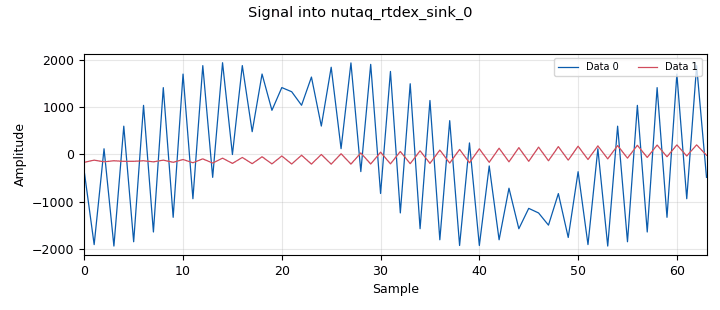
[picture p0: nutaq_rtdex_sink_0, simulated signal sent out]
<?xml version='1.0' encoding='utf-8'?>
<?grc format='1' created='3.7.7'?>
<flow_graph>
<block>
<key>options</key>
<param><key>id</key><value>perseus_mimo</value></param>
<param><key>title</key><value>Perseus MIMO</value></param>
<param><key>generate_options</key><value>qt_gui</value></param>
<param><key>category</key><value>Custom</value></param>
</block>
<block>
<key>variable</key>
<param><key>id</key><value>samp_rate</value></param>
<param><key>value</key><value>8e6/2</value></param>
</block>
<block>
<key>variable</key>
<param><key>id</key><value>decim</value></param>
<param><key>value</key><value>4</value></param>
</block>
<block>
<key>blocks_short_to_float</key>
<param><key>id</key><value>blocks_short_to_float_0_0</value></param>
<param><key>scale</key><value>2**11-1</value></param>
</block>
<block>
<key>blocks_short_to_float</key>
<param><key>id</key><value>blocks_short_to_float_0</value></param>
<param><key>scale</key><value>2**11-1</value></param>
</block>
<block>
<key>blocks_short_to_float</key>
<param><key>id</key><value>blocks_short_to_float_0_1</value></param>
<param><key>scale</key><value>2**11-1</value></param>
</block>
<block>
<key>blocks_short_to_float</key>
<param><key>id</key><value>blocks_short_to_float_0_0_0</value></param>
<param><key>scale</key><value>2**11-1</value></param>
</block>
<block>
<key>blocks_deinterleave</key>
<param><key>id</key><value>blocks_deinterleave_0</value></param>
<param><key>type</key><value>short</value></param>
</block>
<block>
<key>variable_slider</key>
<param><key>id</key><value>freq2</value></param>
<param><key>_enabled</key><value>False</value></param>
<param><key>label</key><value></value></param>
<param><key>value</key><value>1e6</value></param>
<param><key>min</key><value>-samp_rate/2</value></param>
<param><key>max</key><value>samp_rate/2</value></param>
<param><key>num_steps</key><value>100</value></param>
<param><key>style</key><value>wx.SL_HORIZONTAL</value></param>
<param><key>converver</key><value>float_converter</value></param>
</block>
<block>
<key>variable_slider</key>
<param><key>id</key><value>freq1</value></param>
<param><key>_enabled</key><value>False</value></param>
<param><key>label</key><value></value></param>
<param><key>value</key><value>500e3</value></param>
<param><key>min</key><value>-samp_rate/2</value></param>
<param><key>max</key><value>samp_rate/2</value></param>
<param><key>num_steps</key><value>100</value></param>
<param><key>style</key><value>wx.SL_HORIZONTAL</value></param>
<param><key>converver</key><value>float_converter</value></param>
</block>
<block>
<key>wxgui_fftsink2</key>
<param><key>id</key><value>wxgui_fftsink_0</value></param>
<param><key>_enabled</key><value>False</value></param>
<param><key>type</key><value>complex</value></param>
<param><key>title</key><value>FFT Plot</value></param>
<param><key>samp_rate</key><value>samp_rate/4</value></param>
<param><key>baseband_freq</key><value>0</value></param>
<param><key>y_per_div</key><value>10</value></param>
<param><key>y_divs</key><value>10</value></param>
<param><key>ref_level</key><value>0</value></param>
<param><key>ref_scale</key><value>2.0</value></param>
<param><key>fft_size</key><value>1024</value></param>
<param><key>fft_rate</key><value>15</value></param>
<param><key>peak_hold</key><value>False</value></param>
<param><key>average</key><value>False</value></param>
<param><key>avg_alpha</key><value>0</value></param>
<param><key>win</key><value>None</value></param>
<param><key>freqvar</key><value>None</value></param>
</block>
<block>
<key>wxgui_fftsink2</key>
<param><key>id</key><value>wxgui_fftsink_1</value></param>
<param><key>_enabled</key><value>False</value></param>
<param><key>type</key><value>complex</value></param>
<param><key>title</key><value>FFT Plot</value></param>
<param><key>samp_rate</key><value>samp_rate/4</value></param>
<param><key>baseband_freq</key><value>0</value></param>
<param><key>y_per_div</key><value>10</value></param>
<param><key>y_divs</key><value>10</value></param>
<param><key>ref_level</key><value>0</value></param>
<param><key>ref_scale</key><value>2.0</value></param>
<param><key>fft_size</key><value>1024</value></param>
<param><key>fft_rate</key><value>15</value></param>
<param><key>peak_hold</key><value>False</value></param>
<param><key>average</key><value>False</value></param>
<param><key>avg_alpha</key><value>0</value></param>
<param><key>win</key><value>None</value></param>
<param><key>freqvar</key><value>None</value></param>
</block>
<block>
<key>blocks_float_to_complex</key>
<param><key>id</key><value>blocks_float_to_complex_0</value></param>
</block>
<block>
<key>nutaq_custom_register</key>
<param><key>id</key><value>nutaq_custom_register_0_0</value></param>
<param><key>target_id</key><value>nutaq_carrier_perseus_0</value></param>
<param><key>block_priority</key><value>7</value></param>
<param><key>index</key><value>4</value></param>
<param><key>value</key><value>0</value></param>
<param><key>update_rate</key><value>1</value></param>
</block>
<block>
<key>nutaq_custom_register</key>
<param><key>id</key><value>nutaq_custom_register_0_0_0_0_3</value></param>
<param><key>target_id</key><value>nutaq_carrier_perseus_0</value></param>
<param><key>block_priority</key><value>7</value></param>
<param><key>index</key><value>16</value></param>
<param><key>value</key><value>2500000</value></param>
<param><key>update_rate</key><value>10</value></param>
</block>
<block>
<key>nutaq_custom_register</key>
<param><key>id</key><value>nutaq_custom_register_0_0_0_0_2</value></param>
<param><key>target_id</key><value>nutaq_carrier_perseus_0</value></param>
<param><key>block_priority</key><value>7</value></param>
<param><key>index</key><value>18</value></param>
<param><key>value</key><value>1</value></param>
<param><key>update_rate</key><value>10</value></param>
</block>
<block>
<key>nutaq_custom_register</key>
<param><key>id</key><value>nutaq_custom_register_0_0_0_0_1</value></param>
<param><key>target_id</key><value>nutaq_carrier_perseus_0</value></param>
<param><key>block_priority</key><value>7</value></param>
<param><key>index</key><value>19</value></param>
<param><key>value</key><value>1000000</value></param>
<param><key>update_rate</key><value>10</value></param>
</block>
<block>
<key>nutaq_custom_register</key>
<param><key>id</key><value>nutaq_custom_register_0_0_0</value></param>
<param><key>target_id</key><value>nutaq_carrier_perseus_0</value></param>
<param><key>block_priority</key><value>7</value></param>
<param><key>index</key><value>28</value></param>
<param><key>value</key><value>238</value></param>
<param><key>update_rate</key><value>10</value></param>
</block>
<block>
<key>nutaq_custom_register</key>
<param><key>id</key><value>nutaq_custom_register_0_0_0_0_0</value></param>
<param><key>target_id</key><value>nutaq_carrier_perseus_0</value></param>
<param><key>block_priority</key><value>7</value></param>
<param><key>index</key><value>30</value></param>
<param><key>value</key><value>10000</value></param>
<param><key>update_rate</key><value>10</value></param>
</block>
<block>
<key>nutaq_custom_register</key>
<param><key>id</key><value>nutaq_custom_register_0_0_0_0_0_0</value></param>
<param><key>target_id</key><value>nutaq_carrier_perseus_0</value></param>
<param><key>block_priority</key><value>7</value></param>
<param><key>index</key><value>31</value></param>
<param><key>value</key><value>10000</value></param>
<param><key>update_rate</key><value>10</value></param>
</block>
<block>
<key>nutaq_custom_register</key>
<param><key>id</key><value>nutaq_custom_register_0_0_0_0</value></param>
<param><key>target_id</key><value>nutaq_carrier_perseus_0</value></param>
<param><key>block_priority</key><value>7</value></param>
<param><key>index</key><value>3</value></param>
<param><key>value</key><value>7</value></param>
<param><key>update_rate</key><value>10</value></param>
</block>
<block>
<key>nutaq_carrier_perseus</key>
<param><key>id</key><value>nutaq_carrier_perseus_0</value></param>
<param><key>ip_addr</key><value>192.168.0.175</value></param>
</block>
<block>
<key>qtgui_sink_x</key>
<param><key>id</key><value>qtgui_sink_x_0_0_0</value></param>
<param><key>_enabled</key><value>False</value></param>
<param><key>type</key><value>complex</value></param>
<param><key>fftsize</key><value>1024</value></param>
<param><key>wintype</key><value>firdes.WIN_BLACKMAN_hARRIS</value></param>
<param><key>fc</key><value>0</value></param>
<param><key>bw</key><value>samp_rate</value></param>
<param><key>gui_hint</key><value>3,1,3,1</value></param>
<param><key>freqchangevar</key><value>None</value></param>
<param><key>showports</key><value>True</value></param>
</block>
<block>
<key>nutaq_rtdex_source</key>
<param><key>id</key><value>nutaq_rtdex_source_0_0</value></param>
<param><key>_enabled</key><value>False</value></param>
<param><key>target_id</key><value>nutaq_carrier_perseus_0</value></param>
<param><key>block_priority</key><value>7</value></param>
<param><key>type</key><value>short</value></param>
<param><key>media_type</key><value>0</value></param>
<param><key>packet_size</key><value>1024</value></param>
<param><key>num_chan</key><value>1</value></param>
<param><key>channels</key><value>0</value></param>
</block>
<block>
<key>blocks_short_to_float</key>
<param><key>id</key><value>blocks_short_to_float_0_0_0_0</value></param>
<param><key>_enabled</key><value>False</value></param>
<param><key>scale</key><value>2**11-1</value></param>
</block>
<block>
<key>blocks_short_to_float</key>
<param><key>id</key><value>blocks_short_to_float_0_1_0</value></param>
<param><key>_enabled</key><value>False</value></param>
<param><key>scale</key><value>2**11-1</value></param>
</block>
<block>
<key>blocks_deinterleave</key>
<param><key>id</key><value>blocks_deinterleave_0_0_0</value></param>
<param><key>_enabled</key><value>False</value></param>
<param><key>type</key><value>short</value></param>
</block>
<block>
<key>blocks_float_to_complex</key>
<param><key>id</key><value>blocks_float_to_complex_0_0_0</value></param>
<param><key>_enabled</key><value>False</value></param>
</block>
<block>
<key>blocks_float_to_complex</key>
<param><key>id</key><value>blocks_float_to_complex_0_0</value></param>
</block>
<block>
<key>qtgui_time_sink_x</key>
<param><key>id</key><value>qtgui_time_sink_x_0_0</value></param>
<param><key>_enabled</key><value>False</value></param>
<param><key>type</key><value>complex</value></param>
<param><key>size</key><value>1024</value></param>
<param><key>srate</key><value>samp_rate/4</value></param>
<param><key>gui_hint</key><value>2,2,3,2</value></param>
<param><key>label1</key><value></value></param>
<param><key>color1</key><value>"blue"</value></param>
<param><key>label2</key><value></value></param>
<param><key>color2</key><value>"red"</value></param>
</block>
<block>
<key>qtgui_sink_x</key>
<param><key>id</key><value>qtgui_sink_x_0_0</value></param>
<param><key>type</key><value>complex</value></param>
<param><key>fftsize</key><value>1024</value></param>
<param><key>wintype</key><value>firdes.WIN_BLACKMAN_hARRIS</value></param>
<param><key>fc</key><value>0</value></param>
<param><key>bw</key><value>samp_rate/decim</value></param>
<param><key>gui_hint</key><value>1,3,3,1</value></param>
<param><key>freqchangevar</key><value>None</value></param>
<param><key>showports</key><value>True</value></param>
</block>
<block>
<key>blocks_deinterleave</key>
<param><key>id</key><value>blocks_deinterleave_0_0</value></param>
<param><key>type</key><value>short</value></param>
</block>
<block>
<key>qtgui_time_sink_x</key>
<param><key>id</key><value>qtgui_time_sink_x_0</value></param>
<param><key>_enabled</key><value>False</value></param>
<param><key>type</key><value>complex</value></param>
<param><key>size</key><value>1024</value></param>
<param><key>srate</key><value>samp_rate</value></param>
<param><key>gui_hint</key><value>3,3,3,1</value></param>
<param><key>label1</key><value></value></param>
<param><key>color1</key><value>"blue"</value></param>
<param><key>label2</key><value></value></param>
<param><key>color2</key><value>"red"</value></param>
</block>
<block>
<key>variable_qtgui_range</key>
<param><key>id</key><value>freq1</value></param>
<param><key>value</key><value>samp_rate/decim/25</value></param>
<param><key>start</key><value>-samp_rate/2/decim</value></param>
<param><key>stop</key><value>samp_rate/2/decim</value></param>
<param><key>step</key><value>10000</value></param>
<param><key>orient</key><value>Qt.Horizontal</value></param>
<param><key>gui_hint</key><value>3,1,3,1</value></param>
</block>
<block>
<key>nutaq_rtdex_source</key>
<param><key>id</key><value>nutaq_rtdex_source_0_0_0</value></param>
<param><key>target_id</key><value>nutaq_carrier_perseus_0</value></param>
<param><key>block_priority</key><value>4</value></param>
<param><key>type</key><value>short</value></param>
<param><key>media_type</key><value>0</value></param>
<param><key>packet_size</key><value>8192</value></param>
<param><key>num_chan</key><value>2</value></param>
<param><key>channels</key><value>1,2</value></param>
</block>
<block>
<key>qtgui_sink_x</key>
<param><key>id</key><value>qtgui_sink_x_0_00008</value></param>
<param><key>type</key><value>complex</value></param>
<param><key>name</key><value>"dddd"</value></param>
<param><key>fftsize</key><value>1024</value></param>
<param><key>wintype</key><value>firdes.WIN_BLACKMAN_hARRIS</value></param>
<param><key>fc</key><value>0</value></param>
<param><key>bw</key><value>samp_rate</value></param>
<param><key>plotconst</key><value>False</value></param>
<param><key>gui_hint</key><value>1,1,3,1</value></param>
<param><key>freqchangevar</key><value>None</value></param>
<param><key>showports</key><value>True</value></param>
</block>
<block>
<key>nutaq_custom_register</key>
<param><key>id</key><value>nutaq_custom_register_0_1_0</value></param>
<param><key>target_id</key><value>nutaq_carrier_perseus_0</value></param>
<param><key>block_priority</key><value>6</value></param>
<param><key>index</key><value>2</value></param>
<param><key>value</key><value>int((1e4)/samp_rate*(2**32))</value></param>
<param><key>update_rate</key><value>1</value></param>
</block>
<block>
<key>nutaq_custom_register</key>
<param><key>id</key><value>nutaq_custom_register_0_1</value></param>
<param><key>target_id</key><value>nutaq_carrier_perseus_0</value></param>
<param><key>block_priority</key><value>6</value></param>
<param><key>index</key><value>0</value></param>
<param><key>value</key><value>int((1e5)/samp_rate*(2**32))</value></param>
<param><key>update_rate</key><value>1</value></param>
</block>
<block>
<key>nutaq_custom_register</key>
<param><key>id</key><value>nutaq_custom_register_0</value></param>
<param><key>target_id</key><value>nutaq_carrier_perseus_0</value></param>
<param><key>block_priority</key><value>6</value></param>
<param><key>index</key><value>1</value></param>
<param><key>value</key><value>3</value></param>
<param><key>update_rate</key><value>1</value></param>
</block>
<block>
<key>blocks_float_to_short</key>
<param><key>id</key><value>blocks_float_to_short_0_0_1</value></param>
<param><key>scale</key><value>2**11-1</value></param>
</block>
<block>
<key>blocks_float_to_short</key>
<param><key>id</key><value>blocks_float_to_short_0_0_0_0</value></param>
<param><key>scale</key><value>2**11-1</value></param>
</block>
<block>
<key>blocks_complex_to_float</key>
<param><key>id</key><value>blocks_complex_to_float_0_0</value></param>
</block>
<block>
<key>variable_qtgui_range</key>
<param><key>id</key><value>freq2</value></param>
<param><key>value</key><value>samp_rate/20/decim</value></param>
<param><key>start</key><value>-samp_rate/2/decim</value></param>
<param><key>stop</key><value>samp_rate/2/decim</value></param>
<param><key>step</key><value>10000</value></param>
<param><key>orient</key><value>Qt.Horizontal</value></param>
<param><key>gui_hint</key><value>3,3,3,1</value></param>
</block>
<block>
<key>analog_sig_source_x</key>
<param><key>id</key><value>analog_sig_source_x_0_0</value></param>
<param><key>type</key><value>complex</value></param>
<param><key>samp_rate</key><value>samp_rate</value></param>
<param><key>waveform</key><value>analog.GR_COS_WAVE</value></param>
<param><key>freq</key><value>freq2</value></param>
<param><key>amp</key><value>0.1</value></param>
<param><key>offset</key><value>0</value></param>
</block>
<block>
<key>nutaq_radio420_rx</key>
<param><key>id</key><value>nutaq_radio420_rx_0_0</value></param>
<param><key>target_id</key><value>nutaq_carrier_perseus_0</value></param>
<param><key>block_priority</key><value>3</value></param>
<param><key>selected_card</key><value>2</value></param>
<param><key>enable</key><value>1</value></param>
<param><key>reference</key><value>0</value></param>
<param><key>rx_freq</key><value>1200e6</value></param>
<param><key>datarate</key><value>samp_rate*2</value></param>
<param><key>calibrate</key><value>0</value></param>
<param><key>band</key><value>0</value></param>
<param><key>update_rate</key><value>1</value></param>
<param><key>rx_lna_gain</key><value>3</value></param>
<param><key>rx_vga1_gain</key><value>1</value></param>
<param><key>rx_gain2</key><value>0</value></param>
<param><key>rx_gain3</key><value>+18</value></param>
<param><key>rx_lpf_bandwidth</key><value>6</value></param>
<param><key>rx_rf_filter</key><value>2</value></param>
<param><key>ref_clk_ctrl</key><value>0</value></param>
<param><key>rf_ctrl</key><value>0</value></param>
<param><key>rx_gain_ctrl</key><value>0</value></param>
<param><key>pll_cpld_ctrl</key><value>0</value></param>
</block>
<block>
<key>nutaq_radio420_tx</key>
<param><key>id</key><value>nutaq_radio420_tx_0</value></param>
<param><key>target_id</key><value>nutaq_carrier_perseus_0</value></param>
<param><key>block_priority</key><value>0</value></param>
<param><key>selected_card</key><value>1</value></param>
<param><key>enable</key><value>1</value></param>
<param><key>reference</key><value>1</value></param>
<param><key>tx_freq</key><value>978e6</value></param>
<param><key>datarate</key><value>samp_rate*2</value></param>
<param><key>calibrate</key><value>0</value></param>
<param><key>band</key><value>0</value></param>
<param><key>update_rate</key><value>1</value></param>
<param><key>tx_vga1_gain</key><value>-17</value></param>
<param><key>tx_vga2_gain</key><value>5</value></param>
<param><key>tx_gain3</key><value>-4</value></param>
<param><key>tx_lpf_bandwidth</key><value>6</value></param>
<param><key>ref_clk_ctrl</key><value>0</value></param>
<param><key>rf_ctrl</key><value>0</value></param>
<param><key>tx_gain_ctrl</key><value>0</value></param>
<param><key>pll_cpld_ctrl</key><value>0</value></param>
</block>
<block>
<key>nutaq_radio420_tx</key>
<param><key>id</key><value>nutaq_radio420_tx_0_0</value></param>
<param><key>target_id</key><value>nutaq_carrier_perseus_0</value></param>
<param><key>block_priority</key><value>2</value></param>
<param><key>selected_card</key><value>2</value></param>
<param><key>enable</key><value>1</value></param>
<param><key>reference</key><value>0</value></param>
<param><key>tx_freq</key><value>1200e6</value></param>
<param><key>datarate</key><value>samp_rate*2</value></param>
<param><key>calibrate</key><value>0</value></param>
<param><key>band</key><value>0</value></param>
<param><key>update_rate</key><value>1</value></param>
<param><key>tx_vga1_gain</key><value>-17</value></param>
<param><key>tx_vga2_gain</key><value>5</value></param>
<param><key>tx_gain3</key><value>-4</value></param>
<param><key>tx_lpf_bandwidth</key><value>6</value></param>
<param><key>ref_clk_ctrl</key><value>0</value></param>
<param><key>rf_ctrl</key><value>0</value></param>
<param><key>tx_gain_ctrl</key><value>0</value></param>
<param><key>pll_cpld_ctrl</key><value>0</value></param>
</block>
<block>
<key>nutaq_radio420_rx</key>
<param><key>id</key><value>nutaq_radio420_rx_0</value></param>
<param><key>target_id</key><value>nutaq_carrier_perseus_0</value></param>
<param><key>block_priority</key><value>1</value></param>
<param><key>selected_card</key><value>1</value></param>
<param><key>enable</key><value>1</value></param>
<param><key>reference</key><value>1</value></param>
<param><key>rx_freq</key><value>978e6</value></param>
<param><key>datarate</key><value>samp_rate*2</value></param>
<param><key>calibrate</key><value>0</value></param>
<param><key>band</key><value>0</value></param>
<param><key>update_rate</key><value>1</value></param>
<param><key>rx_lna_gain</key><value>3</value></param>
<param><key>rx_vga1_gain</key><value>1</value></param>
<param><key>rx_gain2</key><value>0</value></param>
<param><key>rx_gain3</key><value>18</value></param>
<param><key>rx_lpf_bandwidth</key><value>6</value></param>
<param><key>rx_rf_filter</key><value>2</value></param>
<param><key>ref_clk_ctrl</key><value>0</value></param>
<param><key>rf_ctrl</key><value>0</value></param>
<param><key>rx_gain_ctrl</key><value>0</value></param>
<param><key>pll_cpld_ctrl</key><value>0</value></param>
</block>
<block>
<key>analog_sig_source_x</key>
<param><key>id</key><value>analog_sig_source_x_0</value></param>
<param><key>type</key><value>complex</value></param>
<param><key>samp_rate</key><value>samp_rate/4</value></param>
<param><key>waveform</key><value>analog.GR_COS_WAVE</value></param>
<param><key>freq</key><value>freq1</value></param>
<param><key>amp</key><value>0.95</value></param>
<param><key>offset</key><value>0</value></param>
</block>
<block>
<key>blocks_float_to_short</key>
<param><key>id</key><value>blocks_float_to_short_0_0</value></param>
<param><key>scale</key><value>2**11-1</value></param>
</block>
<block>
<key>blocks_complex_to_float</key>
<param><key>id</key><value>blocks_complex_to_float_0</value></param>
</block>
<block>
<key>blocks_float_to_short</key>
<param><key>id</key><value>blocks_float_to_short_0_0_0</value></param>
<param><key>scale</key><value>2**11-1</value></param>
</block>
<block>
<key>blocks_interleave</key>
<param><key>id</key><value>blocks_interleave_0</value></param>
<param><key>type</key><value>short</value></param>
</block>
<block>
<key>nutaq_rtdex_sink</key>
<param><key>id</key><value>nutaq_rtdex_sink_0_0</value></param>
<param><key>_enabled</key><value>False</value></param>
<param><key>target_id</key><value>nutaq_carrier_perseus_0</value></param>
<param><key>block_priority</key><value>4</value></param>
<param><key>type</key><value>short</value></param>
<param><key>media_type</key><value>0</value></param>
<param><key>packet_size</key><value>8192</value></param>
<param><key>num_chan</key><value>1</value></param>
<param><key>channels</key><value>2</value></param>
</block>
<block>
<key>blocks_interleave</key>
<param><key>id</key><value>blocks_interleave_0_0</value></param>
<param><key>type</key><value>short</value></param>
</block>
<block>
<key>nutaq_rtdex_sink</key>
<param><key>id</key><value>nutaq_rtdex_sink_0</value></param>
<param><key>target_id</key><value>nutaq_carrier_perseus_0</value></param>
<param><key>block_priority</key><value>8</value></param>
<param><key>type</key><value>short</value></param>
<param><key>media_type</key><value>0</value></param>
<param><key>packet_size</key><value>1024</value></param>
<param><key>num_chan</key><value>2</value></param>
<param><key>channels</key><value>1,2</value></param>
</block>
<connection><source_block_id>blocks_float_to_complex_0</source_block_id><sink_block_id>wxgui_fftsink_1</sink_block_id><source_key>0</source_key><sink_key>0</sink_key></connection>
<connection><source_block_id>blocks_deinterleave_0</source_block_id><sink_block_id>blocks_short_to_float_0_0</sink_block_id><source_key>1</source_key><sink_key>0</sink_key></connection>
<connection><source_block_id>blocks_short_to_float_0_0</source_block_id><sink_block_id>blocks_float_to_complex_0</sink_block_id><source_key>0</source_key><sink_key>1</sink_key></connection>
<connection><source_block_id>blocks_short_to_float_0</source_block_id><sink_block_id>blocks_float_to_complex_0</sink_block_id><source_key>0</source_key><sink_key>0</sink_key></connection>
<connection><source_block_id>blocks_deinterleave_0</source_block_id><sink_block_id>blocks_short_to_float_0</sink_block_id><source_key>0</source_key><sink_key>0</sink_key></connection>
<connection><source_block_id>blocks_short_to_float_0_0_0</source_block_id><sink_block_id>blocks_float_to_complex_0_0</sink_block_id><source_key>0</source_key><sink_key>1</sink_key></connection>
<connection><source_block_id>blocks_short_to_float_0_1</source_block_id><sink_block_id>blocks_float_to_complex_0_0</sink_block_id><source_key>0</source_key><sink_key>0</sink_key></connection>
<connection><source_block_id>blocks_deinterleave_0_0</source_block_id><sink_block_id>blocks_short_to_float_0_1</sink_block_id><source_key>0</source_key><sink_key>0</sink_key></connection>
<connection><source_block_id>blocks_deinterleave_0_0</source_block_id><sink_block_id>blocks_short_to_float_0_0_0</sink_block_id><source_key>1</source_key><sink_key>0</sink_key></connection>
<connection><source_block_id>blocks_float_to_complex_0_0</source_block_id><sink_block_id>wxgui_fftsink_0</sink_block_id><source_key>0</source_key><sink_key>0</sink_key></connection>
<connection><source_block_id>nutaq_rtdex_source_0_0_0</source_block_id><sink_block_id>blocks_deinterleave_0</sink_block_id><source_key>0</source_key><sink_key>0</sink_key></connection>
<connection><source_block_id>blocks_float_to_complex_0</source_block_id><sink_block_id>qtgui_sink_x_0_00008</sink_block_id><source_key>0</source_key><sink_key>0</sink_key></connection>
<connection><source_block_id>blocks_float_to_complex_0_0</source_block_id><sink_block_id>qtgui_sink_x_0_0</sink_block_id><source_key>0</source_key><sink_key>0</sink_key></connection>
<connection><source_block_id>blocks_float_to_complex_0</source_block_id><sink_block_id>qtgui_time_sink_x_0</sink_block_id><source_key>0</source_key><sink_key>0</sink_key></connection>
<connection><source_block_id>nutaq_rtdex_source_0_0</source_block_id><sink_block_id>blocks_deinterleave_0_0_0</sink_block_id><source_key>0</source_key><sink_key>0</sink_key></connection>
<connection><source_block_id>blocks_deinterleave_0_0_0</source_block_id><sink_block_id>blocks_short_to_float_0_0_0_0</sink_block_id><source_key>1</source_key><sink_key>0</sink_key></connection>
<connection><source_block_id>blocks_deinterleave_0_0_0</source_block_id><sink_block_id>blocks_short_to_float_0_1_0</sink_block_id><source_key>0</source_key><sink_key>0</sink_key></connection>
<connection><source_block_id>blocks_short_to_float_0_1_0</source_block_id><sink_block_id>blocks_float_to_complex_0_0_0</sink_block_id><source_key>0</source_key><sink_key>0</sink_key></connection>
<connection><source_block_id>blocks_short_to_float_0_0_0_0</source_block_id><sink_block_id>blocks_float_to_complex_0_0_0</sink_block_id><source_key>0</source_key><sink_key>1</sink_key></connection>
<connection><source_block_id>blocks_float_to_complex_0_0_0</source_block_id><sink_block_id>qtgui_sink_x_0_0_0</sink_block_id><source_key>0</source_key><sink_key>0</sink_key></connection>
<connection><source_block_id>blocks_float_to_complex_0_0</source_block_id><sink_block_id>qtgui_time_sink_x_0_0</sink_block_id><source_key>0</source_key><sink_key>0</sink_key></connection>
<connection><source_block_id>nutaq_rtdex_source_0_0_0</source_block_id><sink_block_id>blocks_deinterleave_0_0</sink_block_id><source_key>1</source_key><sink_key>0</sink_key></connection>
<connection><source_block_id>blocks_interleave_0_0</source_block_id><sink_block_id>nutaq_rtdex_sink_0_0</sink_block_id><source_key>0</source_key><sink_key>0</sink_key></connection>
<connection><source_block_id>blocks_complex_to_float_0_0</source_block_id><sink_block_id>blocks_float_to_short_0_0_0_0</sink_block_id><source_key>1</source_key><sink_key>0</sink_key></connection>
<connection><source_block_id>blocks_float_to_short_0_0_1</source_block_id><sink_block_id>blocks_interleave_0_0</sink_block_id><source_key>0</source_key><sink_key>0</sink_key></connection>
<connection><source_block_id>blocks_complex_to_float_0_0</source_block_id><sink_block_id>blocks_float_to_short_0_0_1</sink_block_id><source_key>0</source_key><sink_key>0</sink_key></connection>
<connection><source_block_id>blocks_float_to_short_0_0_0_0</source_block_id><sink_block_id>blocks_interleave_0_0</sink_block_id><source_key>0</source_key><sink_key>1</sink_key></connection>
<connection><source_block_id>analog_sig_source_x_0_0</source_block_id><sink_block_id>blocks_complex_to_float_0_0</sink_block_id><source_key>0</source_key><sink_key>0</sink_key></connection>
<connection><source_block_id>blocks_complex_to_float_0</source_block_id><sink_block_id>blocks_float_to_short_0_0_0</sink_block_id><source_key>1</source_key><sink_key>0</sink_key></connection>
<connection><source_block_id>blocks_float_to_short_0_0_0</source_block_id><sink_block_id>blocks_interleave_0</sink_block_id><source_key>0</source_key><sink_key>1</sink_key></connection>
<connection><source_block_id>blocks_float_to_short_0_0</source_block_id><sink_block_id>blocks_interleave_0</sink_block_id><source_key>0</source_key><sink_key>0</sink_key></connection>
<connection><source_block_id>blocks_complex_to_float_0</source_block_id><sink_block_id>blocks_float_to_short_0_0</sink_block_id><source_key>0</source_key><sink_key>0</sink_key></connection>
<connection><source_block_id>analog_sig_source_x_0</source_block_id><sink_block_id>blocks_complex_to_float_0</sink_block_id><source_key>0</source_key><sink_key>0</sink_key></connection>
<connection><source_block_id>blocks_interleave_0</source_block_id><sink_block_id>nutaq_rtdex_sink_0</sink_block_id><source_key>0</source_key><sink_key>0</sink_key></connection>
<connection><source_block_id>blocks_interleave_0_0</source_block_id><sink_block_id>nutaq_rtdex_sink_0</sink_block_id><source_key>0</source_key><sink_key>1</sink_key></connection>
</flow_graph>
